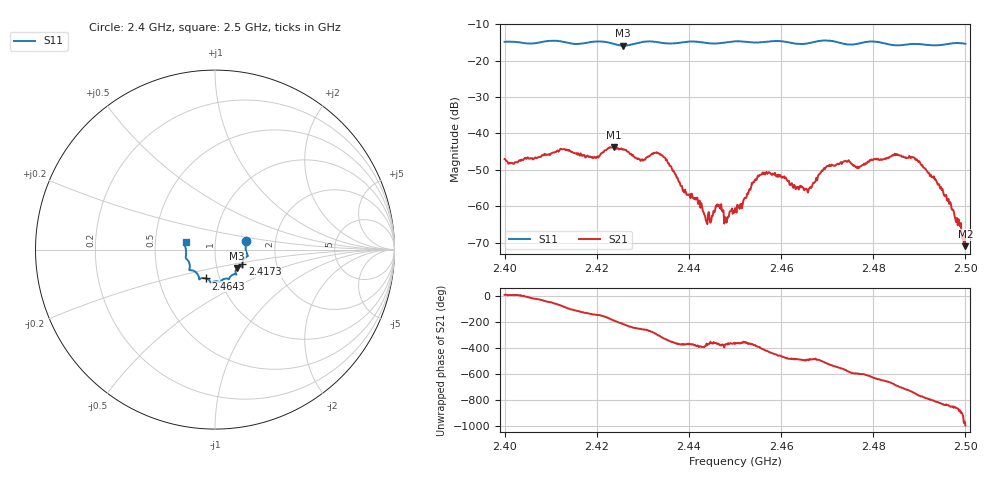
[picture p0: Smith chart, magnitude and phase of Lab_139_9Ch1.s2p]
# Hz S RI R 50
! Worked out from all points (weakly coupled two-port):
!   601 points, 2.4 GHz to 2.5 GHz, reference 50 ohm
!   highest |S21| = -43.75 dB at 2.4237 GHz (marker M1); lowest = -70.9 dB at 2.5 GHz (marker M2)
!   lowest |S11| = -15.9 dB at 2.4257 GHz (marker M3), VSWR 1.38, Z = 62.5 - j13.1 ohm
!   |S11| at or under -10 dB: start of sweep to end of sweep
!   S12 and S22 are empty: the file has one direction only
!   S11 on the Smith chart (normalised r, x): 2.4 GHz: 1.41, +0.14; 2.4173 GHz: 1.34, -0.23; 2.4643 GHz: 0.86, -0.28; 2.5 GHz: 0.72, +0.06
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2.4e9  0.1734 0.0487  0.00435 0.000985  0 0  0 0
2.4125e9  0.1775 -0.039  0.0016 -0.00583  0 0  0 0
2.416667e9  0.1529 -0.0746  -0.00254 -0.00442  0 0  0 0
2.417333e9  0.152 -0.0821  -0.00294 -0.00411  0 0  0 0
2.423667e9  0.1399 -0.0945  -0.00648 0.000496  0 0  0 0
2.425667e9  0.1228 -0.1025  -0.00511 0.00331  0 0  0 0
2.429667e9  0.1165 -0.135  -0.00132 0.00418  0 0  0 0
2.433333e9  0.1129 -0.1373  0.00264 0.00469  0 0  0 0
2.442167e9  0.0737 -0.1639  0.000942 -0.000542  0 0  0 0
2.4435e9  0.0666 -0.1614  0.000688 -0.000265  0 0  0 0
2.4465e9  0.0436 -0.1666  0.00105 -0.000113  0 0  0 0
2.448167e9  0.0341 -0.1744  0.000595 -6.74e-05  0 0  0 0
2.45e9  0.0287 -0.1809  0.000943 -9.07e-05  0 0  0 0
2.455833e9  -0.00536 -0.1776  0.00205 -0.00186  0 0  0 0
2.464333e9  -0.0498 -0.1606  -0.00108 -0.00146  0 0  0 0
2.466667e9  -0.076 -0.1592  -0.00108 -0.0015  0 0  0 0
2.470167e9  -0.0881 -0.1659  -0.0033 -0.00133  0 0  0 0
2.483333e9  -0.1405 -0.0897  0.00212 0.00406  0 0  0 0
2.488833e9  -0.1623 -0.0461  0.00439 -0.00167  0 0  0 0
2.493333e9  -0.1609 -0.0106  0.000197 -0.00232  0 0  0 0
2.496833e9  -0.169 0.0258  -0.00069 -0.000852  0 0  0 0
2.5e9  -0.164 0.0427  1.28e-05 0.000284  0 0  0 0
